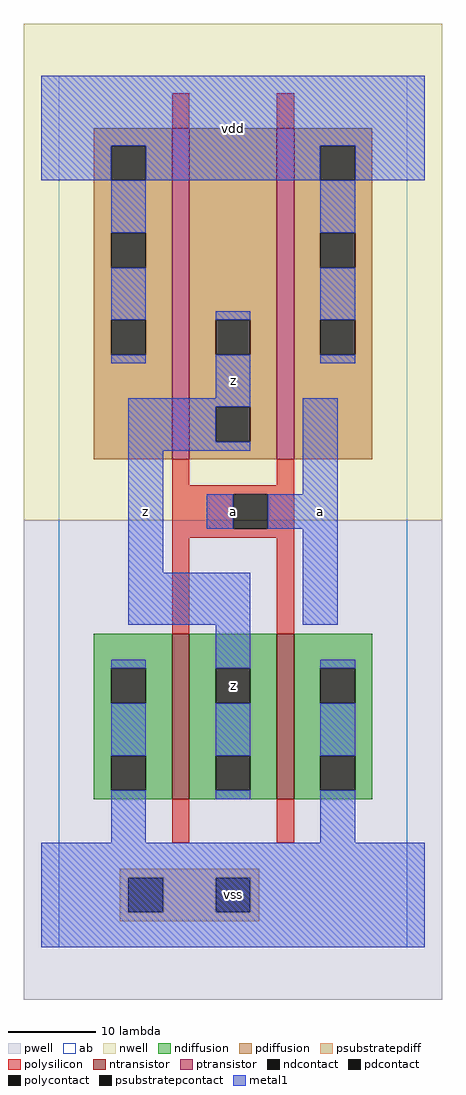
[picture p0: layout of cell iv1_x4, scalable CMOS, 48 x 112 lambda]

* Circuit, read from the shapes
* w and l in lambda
.subckt iv1_x4 a vdd vss z
M1 z a vss vss nfet w=19 l=2 m=2
M2 z a vdd n1 pfet w=38 l=2 m=2
.ends

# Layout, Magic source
magic
tech scmos
<< ab >>
rect 0 0 40 100
<< pwell >>
rect -4 -6 44 49
<< nwell >>
rect -4 49 44 106
<< polysilicon >>
rect 13 94 15 98
rect 25 94 27 98
rect 13 53 15 56
rect 25 53 27 56
rect 13 52 27 53
rect 13 48 20 52
rect 24 48 27 52
rect 13 47 27 48
rect 13 36 15 47
rect 25 36 27 47
rect 13 12 15 17
rect 25 12 27 17
<< ndiffusion >>
rect 4 32 13 36
rect 4 28 6 32
rect 10 28 13 32
rect 4 22 13 28
rect 4 18 6 22
rect 10 18 13 22
rect 4 17 13 18
rect 15 32 25 36
rect 15 28 18 32
rect 22 28 25 32
rect 15 22 25 28
rect 15 18 18 22
rect 22 18 25 22
rect 15 17 25 18
rect 27 32 36 36
rect 27 28 30 32
rect 34 28 36 32
rect 27 22 36 28
rect 27 18 30 22
rect 34 18 36 22
rect 27 17 36 18
<< pdiffusion >>
rect 4 92 13 94
rect 4 88 6 92
rect 10 88 13 92
rect 4 82 13 88
rect 4 78 6 82
rect 10 78 13 82
rect 4 72 13 78
rect 4 68 6 72
rect 10 68 13 72
rect 4 56 13 68
rect 15 72 25 94
rect 15 68 18 72
rect 22 68 25 72
rect 15 62 25 68
rect 15 58 18 62
rect 22 58 25 62
rect 15 56 25 58
rect 27 92 36 94
rect 27 88 30 92
rect 34 88 36 92
rect 27 82 36 88
rect 27 78 30 82
rect 34 78 36 82
rect 27 72 36 78
rect 27 68 30 72
rect 34 68 36 72
rect 27 56 36 68
<< metal1 >>
rect -2 92 42 100
rect -2 88 6 92
rect 10 88 30 92
rect 34 88 42 92
rect 6 82 10 88
rect 6 72 10 78
rect 30 82 34 88
rect 6 67 10 68
rect 18 72 22 73
rect 18 63 22 68
rect 30 72 34 78
rect 30 67 34 68
rect 8 62 22 63
rect 8 58 18 62
rect 8 57 22 58
rect 8 43 12 57
rect 28 52 32 63
rect 17 48 20 52
rect 24 48 32 52
rect 8 37 22 43
rect 28 37 32 48
rect 6 32 10 33
rect 6 22 10 28
rect 6 12 10 18
rect 18 32 22 37
rect 18 22 22 28
rect 18 17 22 18
rect 30 32 34 33
rect 30 22 34 28
rect 30 12 34 18
rect -2 0 42 12
<< ntransistor >>
rect 13 17 15 36
rect 25 17 27 36
<< ptransistor >>
rect 13 56 15 94
rect 25 56 27 94
<< polycontact >>
rect 20 48 24 52
<< ndcontact >>
rect 6 28 10 32
rect 6 18 10 22
rect 18 28 22 32
rect 18 18 22 22
rect 30 28 34 32
rect 30 18 34 22
<< pdcontact >>
rect 6 88 10 92
rect 6 78 10 82
rect 6 68 10 72
rect 18 68 22 72
rect 18 58 22 62
rect 30 88 34 92
rect 30 78 34 82
rect 30 68 34 72
<< psubstratepcontact >>
rect 8 4 12 8
rect 18 4 22 8
<< psubstratepdiff >>
rect 7 8 23 9
rect 7 4 8 8
rect 12 4 18 8
rect 22 4 23 8
rect 7 3 23 4
<< labels >>
rlabel metal1 10 50 10 50 6 z
rlabel metal1 10 50 10 50 6 z
rlabel metal1 20 6 20 6 6 vss
rlabel metal1 20 6 20 6 6 vss
rlabel ndcontact 20 30 20 30 6 z
rlabel ndcontact 20 30 20 30 6 z
rlabel metal1 20 50 20 50 6 a
rlabel metal1 20 50 20 50 6 a
rlabel metal1 20 65 20 65 6 z
rlabel metal1 20 65 20 65 6 z
rlabel metal1 20 94 20 94 6 vdd
rlabel metal1 20 94 20 94 6 vdd
rlabel metal1 30 50 30 50 6 a
rlabel metal1 30 50 30 50 6 a
<< end >>
